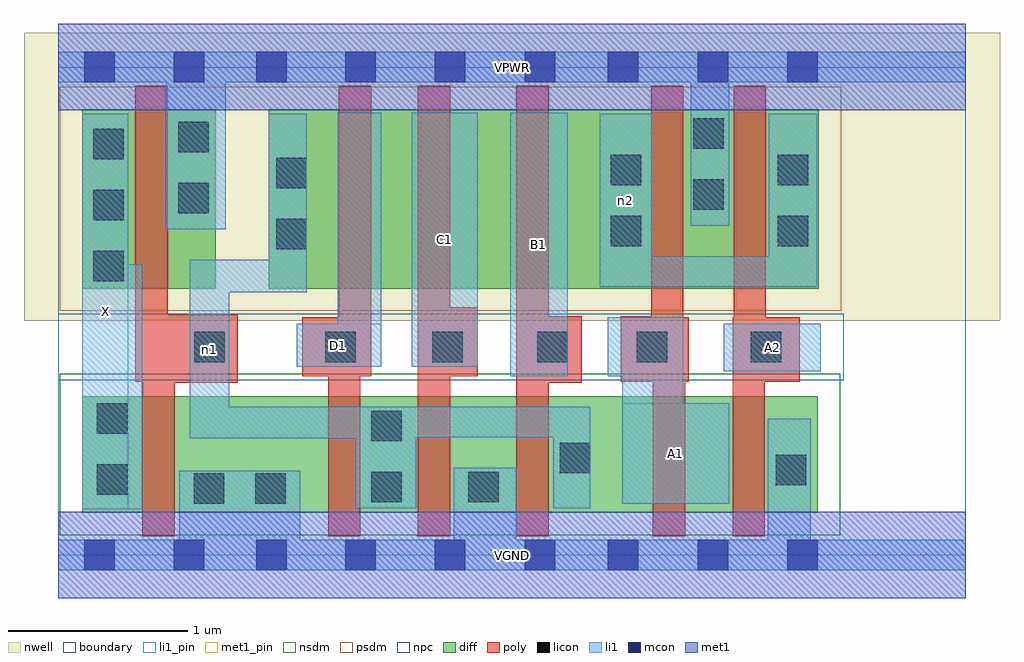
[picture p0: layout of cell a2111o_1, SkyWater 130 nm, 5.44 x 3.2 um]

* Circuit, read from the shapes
.subckt a2111o_1 A1 A2 B1 C1 D1 VGND VPWR X n1 n2
XM1 VGND n1 X VSUBS sky130_fd_pr__nfet_01v8 w=0.65 l=0.18
XM2 n1 D1 VGND VSUBS sky130_fd_pr__nfet_01v8 w=0.65 l=0.18
XM3 VGND C1 n1 VSUBS sky130_fd_pr__nfet_01v8 w=0.65 l=0.18
XM4 n1 B1 VGND VSUBS sky130_fd_pr__nfet_01v8 w=0.65 l=0.18
XM5 n3 A1 n1 VSUBS sky130_fd_pr__nfet_01v8 w=0.65 l=0.18
XM6 VGND A2 n3 VSUBS sky130_fd_pr__nfet_01v8 w=0.65 l=0.18
XM7 VPWR n1 X n4 sky130_fd_pr__pfet_01v8 w=1 l=0.18
XM8 n5 D1 n1 n4 sky130_fd_pr__pfet_01v8 w=1 l=0.18
XM9 n6 C1 n5 n4 sky130_fd_pr__pfet_01v8 w=1 l=0.18
XM10 n2 B1 n6 n4 sky130_fd_pr__pfet_01v8 w=1 l=0.18
XM11 VPWR A1 n2 n4 sky130_fd_pr__pfet_01v8 w=1 l=0.18
XM12 n2 A2 VPWR n4 sky130_fd_pr__pfet_01v8 w=1 l=0.18
.ends

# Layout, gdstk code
import gdstk
lib = gdstk.Library(unit=1e-6, precision=1e-09)
def R(c, l, rs):  # rectangles x0, y0, x1, y1
    for r in rs: c.add(gdstk.rectangle(r[:2], r[2:], *l))
def A(c, l, x, y, w, h, nx, ny, dx, dy):  # array of equal rectangles
    R(c, l, [(x+i*dx, y+j*dy, x+i*dx+w, y+j*dy+h) for i in range(nx) for j in range(ny)])
nwell = (64, 20)
diff = (65, 20)
poly = (66, 20)
licon = (66, 44)
li1_pin = (67, 16)
li1 = (67, 20)
mcon = (67, 44)
met1_pin = (68, 16)
met1 = (68, 20)
nsdm = (93, 44)
psdm = (94, 20)
npc = (95, 20)
boundary = (235, 4)

a2111o_1 = lib.new_cell('a2111o_1')
R(a2111o_1, nwell, [(-0.19,1.305,5.25,2.91), (0,1.305,5.06,2.91)])
R(a2111o_1, diff, [(0.135,0.235,4.235,0.885), (0.135,1.485,0.88,2.485), (1.175,1.485,4.24,2.485)])
R(a2111o_1, poly, [(0.47,0.105,0.65,1.34), (1.505,0.105,1.685,1.325), (2.005,0.105,2.185,2.615), (2.555,0.105,2.735,2.615), (3.315,0.105,3.495,1.325), (3.76,0.105,3.94,1.325), (0.47,0.96,1,1.34), (2.555,0.96,2.92,1.33), (0.43,0.965,0.61,2.615), (3.135,0.965,3.515,1.325), (3.135,0.965,3.485,1.33), (3.305,0.965,3.485,2.615), (3.76,0.965,4.135,1.325), (3.765,0.965,3.945,2.615), (1.36,0.995,1.745,1.325), (1.565,0.995,1.745,2.615), (2.005,0.995,2.34,1.38)])
A(a2111o_1, licon, 0.195, 1.525, 0.17, 0.17, 1, 3, 0, 0.34)
R(a2111o_1, licon, [(0.755,0.285,0.925,0.455), (1.1,0.285,1.27,0.455), (1.745,0.295,1.915,0.465), (2.285,0.295,2.455,0.465), (0.215,0.335,0.385,0.505), (4,0.39,4.17,0.56), (2.795,0.455,2.965,0.625), (1.745,0.635,1.915,0.805), (0.215,0.675,0.385,0.845), (0.76,1.075,0.93,1.245), (1.49,1.075,1.66,1.245), (2.085,1.075,2.255,1.245), (2.67,1.075,2.84,1.245), (3.225,1.075,3.395,1.245), (3.86,1.075,4.03,1.245), (1.215,1.705,1.385,1.875), (3.08,1.72,3.25,1.89), (4.01,1.72,4.18,1.89), (0.67,1.905,0.84,2.075), (3.54,1.925,3.71,2.095), (1.215,2.045,1.385,2.215), (3.08,2.06,3.25,2.23), (4.01,2.06,4.18,2.23), (0.67,2.245,0.84,2.415), (3.54,2.265,3.71,2.435)])
R(a2111o_1, li1_pin, [(0.135,0.255,0.39,2.46), (3.145,0.285,3.74,0.845), (2.52,0.995,2.84,2.465), (3.71,1.025,4.25,1.29), (1.33,1.05,1.8,1.29), (1.97,1.05,2.34,2.465)])
R(a2111o_1, li1, [(0,-0.085,5.06,0.085), (0.675,-0.085,1.35,0.47), (2.205,-0.085,2.555,0.485), (3.955,-0.085,4.195,0.76), (0.135,0.255,0.39,2.46), (0.135,0.255,0.47,1.62), (1.66,0.26,1.995,0.825), (2.76,0.26,2.965,0.825), (3.145,0.285,3.485,1.325), (3.145,0.285,3.74,0.845), (0.735,0.65,0.955,1.645), (0.735,0.65,1.995,0.825), (0.735,0.655,2.965,0.825), (2.52,0.995,2.84,2.465), (3.065,0.995,3.485,1.325), (3.71,1.025,4.25,1.29), (1.33,1.05,1.8,1.29), (1.56,1.05,1.8,2.465), (1.97,1.05,2.34,2.465), (0.735,1.465,1.385,1.645), (1.175,1.465,1.385,2.46), (3.02,1.495,3.31,2.46), (3.02,1.495,4.23,1.665), (3.96,1.495,4.23,2.46), (0.6,1.815,0.935,2.805), (3.525,1.835,3.74,2.805), (0,2.635,5.06,2.805)])
A(a2111o_1, mcon, 1.6, -0.085, 0.17, 0.17, 3, 2, 0.5, 2.72)
A(a2111o_1, mcon, 3.065, -0.085, 0.17, 0.17, 3, 2, 0.5, 2.72)
R(a2111o_1, mcon, [(0.145,-0.085,0.315,0.085), (0.645,-0.085,0.815,0.085), (1.105,-0.085,1.275,0.085), (0.145,2.635,0.315,2.805), (0.645,2.635,0.815,2.805), (1.105,2.635,1.275,2.805)])
R(a2111o_1, met1_pin, [(0,-0.24,5.06,0.24), (0,2.48,5.06,2.96)])
R(a2111o_1, met1, [(0,-0.24,5.06,0.24), (0,2.48,5.06,2.96)])
R(a2111o_1, nsdm, [(0.01,0.11,4.36,1.01)])
R(a2111o_1, psdm, [(0.01,1.36,4.365,2.61)])
R(a2111o_1, npc, [(0,0.975,4.38,1.345)])
R(a2111o_1, boundary, [(0,0,5.06,2.72)])
a2111o_1.add(gdstk.Label('A1', (3.442,0.565), layer=67, texttype=5))
a2111o_1.add(gdstk.Label('A2', (3.98,1.157), layer=67, texttype=5))
a2111o_1.add(gdstk.Label('B1', (2.68,1.73), layer=67, texttype=5))
a2111o_1.add(gdstk.Label('C1', (2.155,1.757), layer=67, texttype=5))
a2111o_1.add(gdstk.Label('D1', (1.565,1.17), layer=67, texttype=5))
a2111o_1.add(gdstk.Label('X', (0.262,1.357), layer=67, texttype=5))
a2111o_1.add(gdstk.Label('n1', (0.845,1.147), layer=67, texttype=5))
a2111o_1.add(gdstk.Label('n2', (3.165,1.977), layer=67, texttype=5))
a2111o_1.add(gdstk.Label('VPWR', (2.53,2.72), layer=68, texttype=5))
a2111o_1.add(gdstk.Label('VGND', (2.53,0), layer=68, texttype=5))
a2111o_1.add(gdstk.Label('A1', (3.442,0.565), layer=67, texttype=16))
a2111o_1.add(gdstk.Label('A2', (3.98,1.157), layer=67, texttype=16))
a2111o_1.add(gdstk.Label('B1', (2.68,1.73), layer=67, texttype=16))
a2111o_1.add(gdstk.Label('C1', (2.155,1.757), layer=67, texttype=16))
a2111o_1.add(gdstk.Label('D1', (1.565,1.17), layer=67, texttype=16))
a2111o_1.add(gdstk.Label('X', (0.262,1.357), layer=67, texttype=16))
a2111o_1.add(gdstk.Label('VPWR', (2.53,2.72), layer=68, texttype=16))
a2111o_1.add(gdstk.Label('VGND', (2.53,0), layer=68, texttype=16))

lib.write_gds('a2111o_1.gds')
